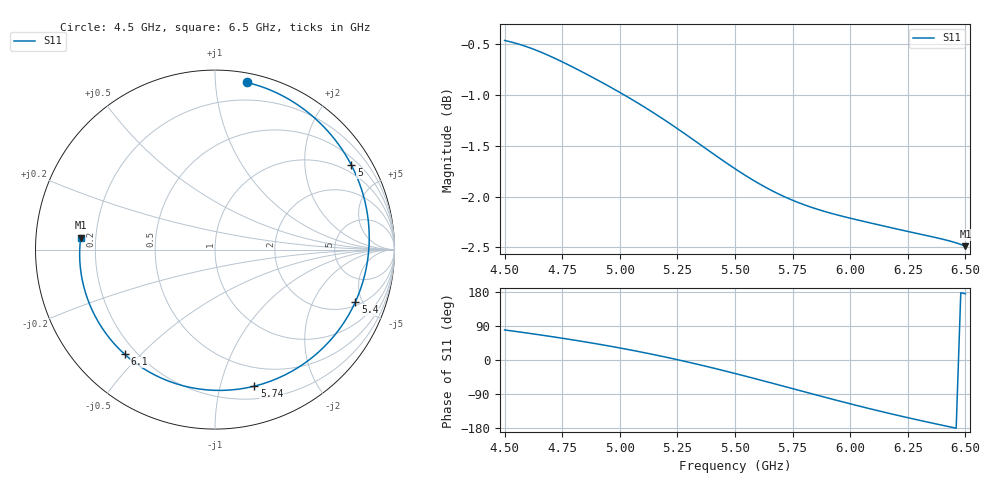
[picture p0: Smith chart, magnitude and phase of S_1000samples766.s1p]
! TOUCHSTONE file generated by CST MICROWAVE STUDIO
! Date and time: Sat Oct 29 07:40:27 2022
! Project name: L.cst
! Parameters = {Di=1.27; Epsilon_r=1.56; InnerDiameter=1.27; Length=2; Lf=10; Lg=60; OuterConductorThickness=0.2921; OuterDiameter=3.6; Wf=3; Wp=41.2; de=1.5; df=6.8; g=0.8; gx=2.86673; gy=1.58873; h=2.34; hf=1.524; px=9.12801; py=10.342; w=9.7; wx=6.26128; wy=8.75324}
! Header version: 2018
! Port assignment regex: !\s*Touchstone port\s*([0-9]+)\s*=\s*(CST MWS port|CST DS port)\s*([0-9]+|Zmin|Zmax)\s*\(\"(.*)\"\)(\s*mode\s*([0-9]+))?.*
! Touchstone port assignment:
! Touchstone port 1 = CST MWS port 1 ("")
# GHz S DB R 50
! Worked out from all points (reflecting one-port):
!   101 points, 4.5 GHz to 6.5 GHz, reference 50 ohm
!   lowest |S11| = -2.5 dB at 6.5 GHz (marker M1), VSWR 7.03, Z = 7.13 + j2.18 ohm
!   phase of S11 starts at 79 deg and turns -264 deg over the sweep
!   S11 on the Smith chart (normalised r, x): 4.5 GHz: 0.07, +1.20; 5 GHz: 0.72, +3.37; 5.4 GHz: 2.29, -4.40; 5.74 GHz: 0.31, -1.28; 6.1 GHz: 0.16, -0.45; 6.5 GHz: 0.14, +0.04
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4.5  -0.46 79.3
4.64  -0.56 67.5
4.76  -0.69 56.5
4.88  -0.83 44.7
5  -0.98 31.8
5.08  -1.08 22.5
5.14  -1.17 15.1
5.2  -1.26 7.5
5.26  -1.35 -0.5
5.34  -1.47 -11.7
5.4  -1.57 -20.4
5.5  -1.73 -35.6
5.56  -1.81 -45.0
5.62  -1.89 -54.5
5.68  -1.96 -64.2
5.74  -2.03 -73.9
5.76  -2.05 -77.2
5.82  -2.10 -86.9
5.88  -2.14 -96.6
5.94  -2.18 -106.2
6  -2.21 -115.6
6.1  -2.27 -130.8
6.18  -2.31 -142.4
6.26  -2.35 -153.6
6.32  -2.38 -161.7
6.38  -2.41 -169.6
6.44  -2.44 -177.4
6.5  -2.49 174.9
